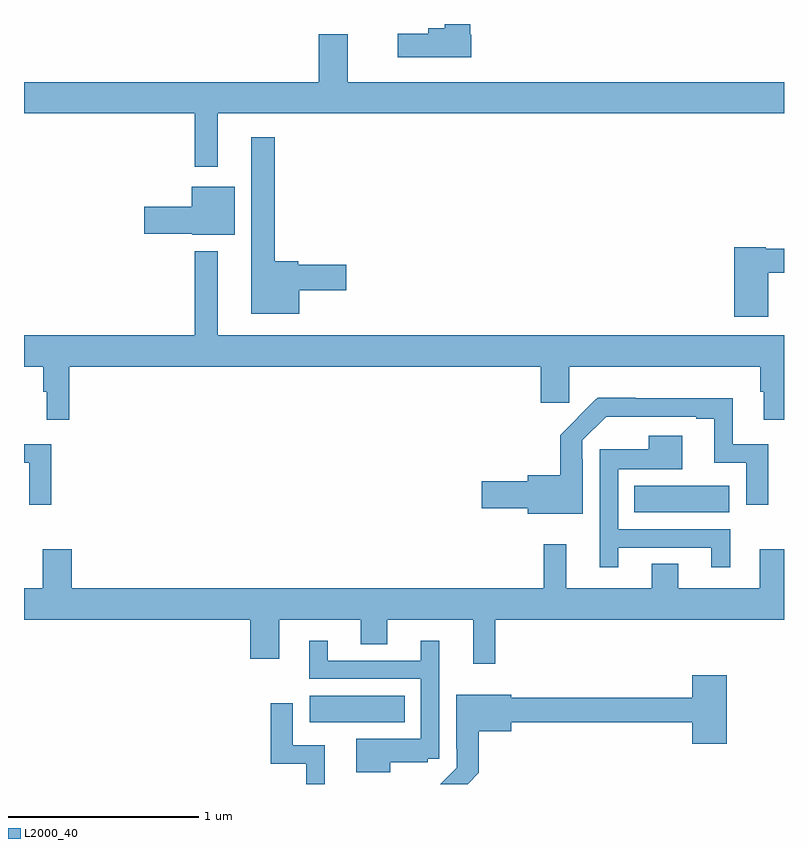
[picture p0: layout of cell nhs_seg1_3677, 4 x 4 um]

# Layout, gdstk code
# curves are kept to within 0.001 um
import gdstk
lib = gdstk.Library(unit=1e-6, precision=1e-09)
def R(c, l, rs):  # rectangles x0, y0, x1, y1
    for r in rs: c.add(gdstk.rectangle(r[:2], r[2:], *l))
def P(c, l, *ps):  # polygons
    for p in ps: c.add(gdstk.Polygon(p, *l))
L2000_40 = (2000, 40)

nhs_seg1_3677 = lib.new_cell('nhs_seg1_3677')
R(nhs_seg1_3677, L2000_40, [(312.504,552.524,313.004,552.664), (314.212,553.628,314.713,553.768)])
P(nhs_seg1_3677, L2000_40, [(313.354,556.143),(313.349,556.143),(313.349,556.199),(313.214,556.199),(313.214,556.177),(313.127,556.177),(313.127,556.147),(312.966,556.147),(312.966,556.025),(313.354,556.025)],
  [(312.019,555.728),(315,555.728),(315,555.892),(312.703,555.892),(312.703,556.144),(312.551,556.144),(312.551,555.892),(311,555.892),(311,555.728),(311.898,555.728),(311.898,555.447),(312.019,555.447)],
  [(312.448,554.798),(312.697,554.798),(312.697,554.933),(312.444,554.933),(312.444,554.951),(312.319,554.951),(312.319,555.604),(312.197,555.604),(312.197,554.675),(312.448,554.675)],
  [(312.109,555.343),(311.882,555.343),(311.882,555.237),(311.634,555.237),(311.634,555.095),(311.886,555.095),(311.886,555.089),(312.109,555.089)],
  [(314.916,554.889),(315,554.889),(315,555.017),(314.904,555.017),(314.904,555.025),(314.738,555.025),(314.738,554.658),(314.916,554.658)],
  [(311.237,554.396),(313.721,554.396),(313.721,554.205),(313.871,554.205),(313.871,554.396),(314.875,554.396),(314.875,554.264),(314.894,554.264),(314.894,554.115),(315,554.115),(315,554.56),(312.019,554.56),(312.019,555.004),(311.898,555.004),(311.898,554.56),(311,554.56),(311,554.396),(311.101,554.396),(311.101,554.264),(311.12,554.264),(311.12,554.115),(311.237,554.115)],
  [(313.941,553.907),(313.938,553.907),(313.938,554.007),(314.064,554.133),(314.537,554.133),(314.537,554.121),(314.633,554.121),(314.633,553.89),(314.802,553.89),(314.802,553.668),(314.918,553.668),(314.918,553.986),(314.731,553.986),(314.731,554.23),(314.219,554.23),(314.219,554.233),(314.02,554.233),(313.823,554.035),(313.823,553.824),(313.652,553.824),(313.652,553.793),(313.41,553.793),(313.41,553.651),(313.652,553.651),(313.652,553.622),(313.941,553.622)],
  [(314.128,553.443),(314.618,553.443),(314.618,553.341),(314.716,553.341),(314.716,553.539),(314.127,553.539),(314.127,553.856),(314.464,553.856),(314.464,554.032),(314.288,554.032),(314.288,553.96),(314.031,553.96),(314.031,553.341),(314.128,553.341)],
  [(311.144,553.986),(311,553.986),(311,553.89),(311.028,553.89),(311.028,553.668),(311.144,553.668)],
  [(311.252,553.435),(311.099,553.435),(311.099,553.228),(311,553.228),(311,553.064),(312.191,553.064),(312.191,552.858),(312.343,552.858),(312.343,553.064),(312.773,553.064),(312.773,552.934),(312.913,552.934),(312.913,553.064),(313.364,553.064),(313.364,552.831),(313.481,552.831),(313.481,553.064),(315,553.064),(315,553.435),(314.873,553.435),(314.873,553.228),(314.443,553.228),(314.443,553.358),(314.303,553.358),(314.303,553.228),(313.853,553.228),(313.853,553.462),(313.735,553.462),(313.735,553.228),(311.252,553.228)],
  [(312.928,552.314),(313.125,552.314),(313.125,552.333),(313.185,552.333),(313.185,552.952),(313.088,552.952),(313.088,552.849),(312.598,552.849),(312.598,552.952),(312.5,552.952),(312.5,552.753),(313.089,552.753),(313.089,552.436),(312.749,552.436),(312.749,552.26),(312.928,552.26)],
  [(313.394,552.257),(313.394,552.476),(313.564,552.476),(313.564,552.523),(314.516,552.523),(314.516,552.411),(314.699,552.411),(314.699,552.772),(314.516,552.772),(314.516,552.652),(313.564,552.652),(313.564,552.67),(313.275,552.67),(313.275,552.385),(313.278,552.385),(313.278,552.285),(313.192,552.199),(313.336,552.199)],
  [(312.583,552.402),(312.414,552.402),(312.414,552.625),(312.298,552.625),(312.298,552.306),(312.485,552.306),(312.485,552.199),(312.583,552.199)])

lib.write_gds('nhs_seg1_3677.gds')
